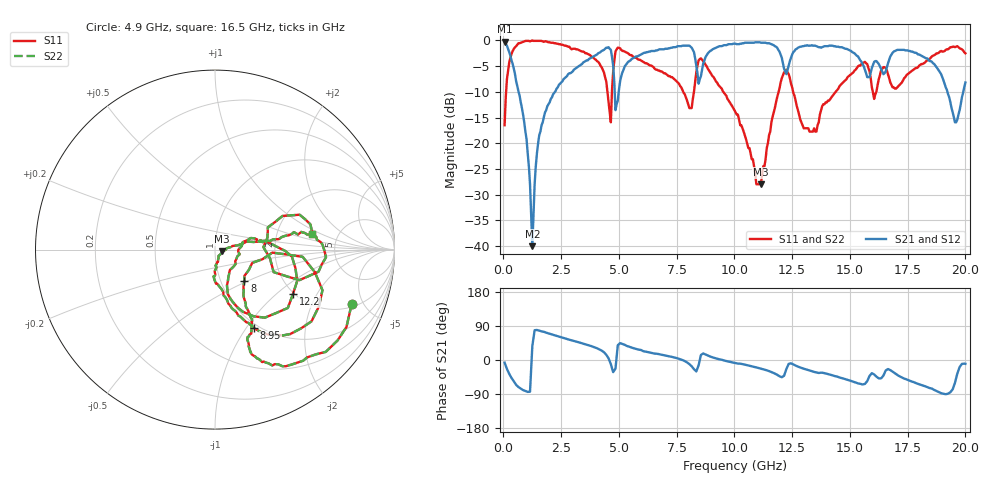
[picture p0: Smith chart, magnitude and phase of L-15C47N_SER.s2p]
# MHZ S MA R 50
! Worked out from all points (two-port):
!   400 points, 50 MHz to 20 GHz, reference 50 ohm
!   highest |S21| = -0.26 dB at 50 MHz (marker M1); lowest = -40.0 dB at 1.25 GHz (marker M2)
!   |S21| within 3 dB of the highest: 8.747 GHz to 12.04 GHz (3.296 GHz wide, 31.7 % of centre); 12.46 GHz to 15.37 GHz (2.915 GHz wide, 20.9 % of centre)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
!   lowest |S11| = -28.0 dB at 11.15 GHz (marker M3), VSWR 1.08, Z = 54 - j1.04 ohm
!   |S11| at or under -10 dB: 7.784 GHz to 8.247 GHz (462.4 MHz wide, 5.77 % of centre); 9.519 GHz to 11.91 GHz (2.392 GHz wide, 22.3 % of centre); 12.54 GHz to 14.38 GHz (1.84 GHz wide, 13.7 % of centre)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
!   |S22| runs from -28.0 to 0.0 dB; largest |S21 - S12| = 0
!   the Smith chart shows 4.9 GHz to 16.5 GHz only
!   S11 on the Smith chart (normalised r, x): 4.9 GHz: 2.17, -4.06; 8 GHz: 1.29, -0.48; 8.95 GHz: 0.95, -1.09; 12.2 GHz: 1.97, -1.30; 16.5 GHz: 3.22, +0.81
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50  0.15 76.0  0.97 -7.0  0.97 -7.0  0.15 76.0
300  0.68 44.4  0.71 -42.0  0.71 -42.0  0.68 44.4
1000  0.99 4.4  0.11 -83.0  0.11 -83.0  0.99 4.4
1250  1 -2.0  0.01 36.7  0.01 36.7  1 -2.0
1450  0.99 -7.5  0.08 79.2  0.08 79.2  0.99 -7.5
1800  0.98 -15.4  0.2 73.2  0.2 73.2  0.98 -15.4
3400  0.78 -45.5  0.59 44.4  0.59 44.4  0.78 -45.5
4650  0.16 -7.7  0.81 -11.1  0.81 -11.1  0.16 -7.7
4900  0.82 -21.9  0.24 8.1  0.24 8.1  0.82 -21.9
6700  0.51 -67.7  0.81 15.8  0.81 15.8  0.51 -67.7
8000  0.24 -47.1  0.89 -8.7  0.89 -8.7  0.24 -47.1
8450  0.64 -20.7  0.38 -13.8  0.38 -13.8  0.64 -20.7
8950  0.49 -63.5  0.79 9.1  0.79 9.1  0.49 -63.5
10050  0.2 -84.5  0.93 -8.3  0.93 -8.3  0.2 -84.5
11150  0.04 -13.9  0.95 -22.7  0.95 -22.7  0.04 -13.9
12200  0.5 -29.7  0.5 -32.7  0.5 -32.7  0.5 -29.7
13350  0.13 -23.0  0.9 -29.4  0.9 -29.4  0.13 -23.0
16500  0.55 9.2  0.48 -34.5  0.48 -34.5  0.55 9.2
16700  0.43 -4.3  0.65 -25.3  0.65 -25.3  0.43 -4.3
18350  0.64 6.7  0.67 -71.7  0.67 -71.7  0.64 6.7
19550  0.86 -22.1  0.16 -59.9  0.16 -59.9  0.86 -22.1
20000  0.75 -40.7  0.39 -10.1  0.39 -10.1  0.75 -40.7
